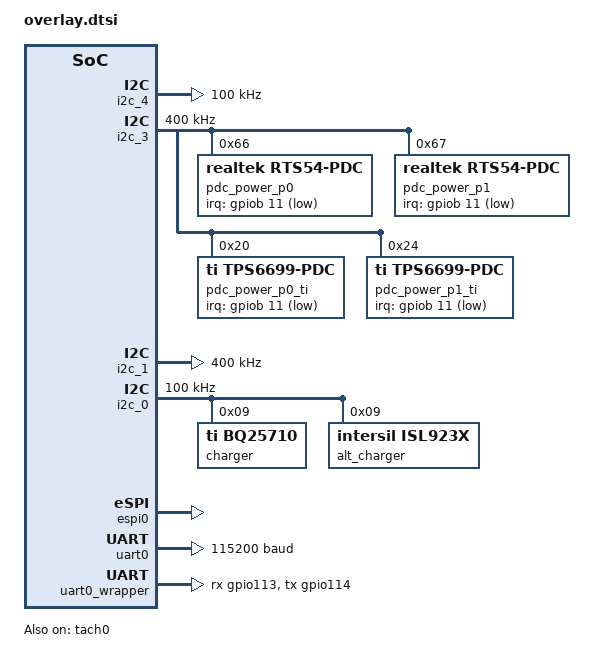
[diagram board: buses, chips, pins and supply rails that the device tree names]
/* Copyright 2025 The ChromiumOS Authors
 * Use of this source code is governed by a BSD-style license that can be
 * found in the LICENSE file.
 */

&i2c_4 {
	label = "I2C_THERMAL";
	clock-frequency = <I2C_BITRATE_STANDARD>;
};

&i2c_3 {
	label = "I2C_PORT_PD";
	clock-frequency = <I2C_BITRATE_FAST>;

	pdc_power_p0: rts54-pdc@66 {
		compatible = "realtek,rts54-pdc";
		reg = <0x66>;
		irq-gpios = <&gpiob 11 GPIO_ACTIVE_LOW>;
		zephyr,deferred-init;
		ccd;
	};
	pdc_power_p1: rts54-pdc@67 {
		compatible = "realtek,rts54-pdc";
		reg = <0x67>;
		irq-gpios = <&gpiob 11 GPIO_ACTIVE_LOW>;
		no-fw-update;
		zephyr,deferred-init;
	};

	pdc_power_p0_ti: tps6699-pdc@20 {
		compatible = "ti,tps6699-pdc";
		reg = <0x20>;
		irq-gpios = <&gpiob 11 GPIO_ACTIVE_LOW>;
		zephyr,deferred-init;
	};
	pdc_power_p1_ti: tps6699-pdc@24 {
		compatible = "ti,tps6699-pdc";
		reg = <0x24>;
		irq-gpios = <&gpiob 11 GPIO_ACTIVE_LOW>;
		no-fw-update;
		zephyr,deferred-init;
		ccd;
	};
};

&i2c_1 {
	label = "I2C_ISH";
	clock-frequency = <I2C_BITRATE_FAST>;
};

&i2c_0 {
	label = "I2C_BATTERY";
	label = "I2C_PORT_CHARGER";

	clock-frequency = <I2C_BITRATE_STANDARD>;
	charger: bq25710@9 {
		compatible = "ti,bq25710";
		status = "okay";
		reg = <0x9>;
	};

	alt_charger: isl9538@9 {
		compatible = "intersil,isl923x";
		status = "okay";
		reg = <0x9>;
	};
};

/* Tachometer for fan speed measurement */
&tach0 {
	status = "okay";
	pinctrl-0 = <&tacho0_gpio052>;
	pinctrl-names = "default";
	pulses-per-round = <2>;
};

/* host interface */
&espi0 {
	status = "okay";
};

&uart0 {
	status = "okay";
	current-speed = <115200>;
};
 
&uart0_wrapper {
	status = "okay";
	pinctrl-0 = <&uart_rx_gpio113 &uart_tx_gpio114>;
	pinctrl-names = "default";
};
